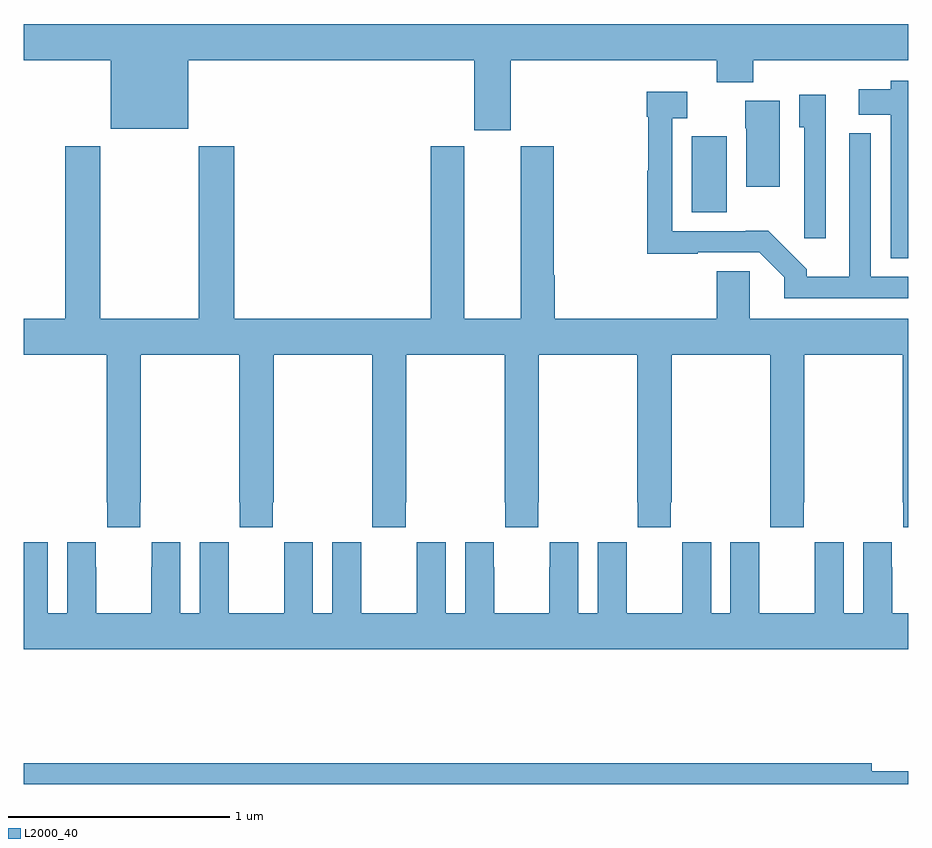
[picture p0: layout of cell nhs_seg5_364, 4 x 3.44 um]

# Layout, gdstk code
import gdstk
lib = gdstk.Library(unit=1e-6, precision=1e-09)
def R(c, l, rs):  # rectangles x0, y0, x1, y1
    for r in rs: c.add(gdstk.rectangle(r[:2], r[2:], *l))
def P(c, l, *ps):  # polygons
    for p in ps: c.add(gdstk.Polygon(p, *l))
L2000_40 = (2000, 40)

nhs_seg5_364 = lib.new_cell('nhs_seg5_364')
R(nhs_seg5_364, L2000_40, [(136.022,877.384,136.18,877.729)])
P(nhs_seg5_364, L2000_40, [(135.202,878.072),(136.133,878.072),(136.133,877.973),(136.298,877.973),(136.298,878.072),(137,878.072),(137,878.236),(133,878.236),(133,878.072),(133.394,878.072),(133.394,877.763),(133.744,877.763),(133.744,878.072),(135.038,878.072),(135.038,877.755),(135.202,877.755)],
  [(137,877.98),(136.92,877.98),(136.92,877.942),(136.776,877.942),(136.776,877.826),(136.92,877.826),(136.92,877.177),(137,877.177)],
  [(137,877.092),(136.83,877.092),(136.83,877.741),(136.734,877.741),(136.734,877.093),(136.54,877.093),(136.54,877.127),(136.366,877.301),(136.265,877.301),(136.265,877.299),(135.933,877.299),(135.933,877.809),(136,877.809),(136,877.93),(135.817,877.93),(135.817,877.817),(135.825,877.817),(135.825,877.572),(135.82,877.572),(135.82,877.198),(136.049,877.198),(136.049,877.203),(136.326,877.203),(136.44,877.09),(136.44,876.996),(137,876.996)],
  [(136.626,877.915),(136.508,877.915),(136.508,877.77),(136.53,877.77),(136.53,877.266),(136.626,877.266)],
  [(136.42,877.888),(136.262,877.888),(136.262,877.764),(136.268,877.764),(136.268,877.5),(136.42,877.5)],
  [(133.527,876.073),(133.53,876.073),(133.53,876.74),(133.975,876.74),(133.975,876.073),(133.977,876.073),(133.977,875.961),(134.127,875.961),(134.127,876.073),(134.13,876.073),(134.13,876.74),(134.575,876.74),(134.575,876.073),(134.577,876.073),(134.577,875.961),(134.727,875.961),(134.727,876.073),(134.73,876.073),(134.73,876.74),(135.175,876.74),(135.175,876.073),(135.177,876.073),(135.177,875.961),(135.327,875.961),(135.327,876.073),(135.33,876.073),(135.33,876.74),(135.775,876.74),(135.775,876.073),(135.777,876.073),(135.777,875.961),(135.927,875.961),(135.927,876.073),(135.93,876.073),(135.93,876.74),(136.375,876.74),(136.375,876.073),(136.377,876.073),(136.377,875.961),(136.527,875.961),(136.527,876.073),(136.53,876.073),(136.53,876.74),(136.975,876.74),(136.975,876.073),(136.977,876.073),(136.977,875.961),(137,875.961),(137,876.904),(136.284,876.904),(136.284,877.118),(136.133,877.118),(136.133,876.904),(135.401,876.904),(135.401,877.1),(135.396,877.1),(135.396,877.683),(135.248,877.683),(135.248,876.904),(134.992,876.904),(134.992,877.683),(134.84,877.683),(134.84,876.904),(133.952,876.904),(133.952,877.684),(133.792,877.684),(133.792,876.904),(133.347,876.904),(133.347,877.684),(133.187,877.684),(133.187,876.904),(133,876.904),(133,876.74),(133.375,876.74),(133.375,876.073),(133.377,876.073),(133.377,875.961),(133.527,875.961)],
  [(137,875.572),(136.927,875.572),(136.927,875.78),(136.926,875.78),(136.926,875.893),(136.796,875.893),(136.796,875.572),(136.708,875.572),(136.708,875.893),(136.578,875.893),(136.578,875.78),(136.577,875.78),(136.577,875.572),(136.327,875.572),(136.327,875.78),(136.326,875.78),(136.326,875.893),(136.196,875.893),(136.196,875.572),(136.108,875.572),(136.108,875.893),(135.978,875.893),(135.978,875.78),(135.977,875.78),(135.977,875.572),(135.727,875.572),(135.727,875.78),(135.726,875.78),(135.726,875.893),(135.596,875.893),(135.596,875.572),(135.508,875.572),(135.508,875.893),(135.378,875.893),(135.378,875.78),(135.377,875.78),(135.377,875.572),(135.127,875.572),(135.127,875.78),(135.126,875.78),(135.126,875.893),(134.996,875.893),(134.996,875.572),(134.908,875.572),(134.908,875.893),(134.778,875.893),(134.778,875.78),(134.777,875.78),(134.777,875.572),(134.527,875.572),(134.527,875.78),(134.526,875.78),(134.526,875.893),(134.396,875.893),(134.396,875.572),(134.308,875.572),(134.308,875.893),(134.178,875.893),(134.178,875.78),(134.177,875.78),(134.177,875.572),(133.927,875.572),(133.927,875.78),(133.926,875.78),(133.926,875.893),(133.796,875.893),(133.796,875.572),(133.708,875.572),(133.708,875.893),(133.578,875.893),(133.578,875.78),(133.577,875.78),(133.577,875.572),(133.327,875.572),(133.327,875.78),(133.326,875.78),(133.326,875.893),(133.196,875.893),(133.196,875.572),(133.108,875.572),(133.108,875.893),(133,875.893),(133,875.408),(137,875.408)],
  [(137,874.856),(136.834,874.856),(136.834,874.892),(133,874.892),(133,874.799),(137,874.799)])

lib.write_gds('nhs_seg5_364.gds')
